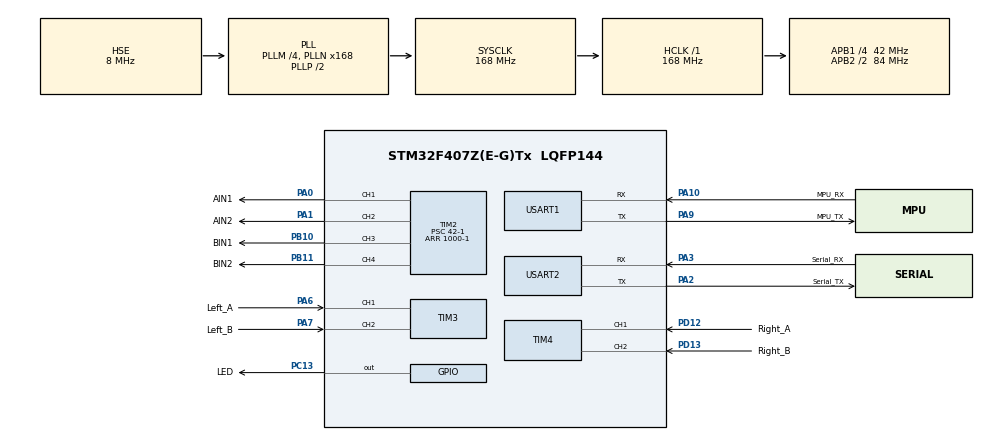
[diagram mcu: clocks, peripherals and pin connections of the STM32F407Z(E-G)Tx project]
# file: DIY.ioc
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FREERTOS.Tasks01=MPU_TASK,24,128,Read_MPU,Default,NULL,Dynamic,NULL,NULL
Mcu.Family=STM32F4
Mcu.Name=STM32F407Z(E-G)Tx
Mcu.Package=LQFP144
NVIC.PriorityGroup=NVIC_PRIORITYGROUP_4
NVIC.TIM1_UP_TIM10_IRQn=true\:15\:0\:false\:false\:true\:false\:false\:true\:true
NVIC.TIM3_IRQn=true\:5\:0\:false\:false\:true\:true\:true\:true\:true
NVIC.TIM4_IRQn=true\:5\:0\:false\:false\:true\:true\:true\:true\:true
NVIC.TIM5_IRQn=true\:5\:0\:false\:false\:true\:true\:true\:true\:true
NVIC.TimeBase=TIM1_UP_TIM10_IRQn
NVIC.TimeBaseIP=TIM1
NVIC.USART1_IRQn=true\:5\:0\:false\:false\:true\:true\:true\:true\:true
PA0-WKUP.GPIO_Label=AIN1
PA0-WKUP.GPIO_Speed=GPIO_SPEED_FREQ_VERY_HIGH
PA0-WKUP.Signal=S_TIM2_CH1_ETR
PA1.GPIO_Label=AIN2
PA1.GPIO_Speed=GPIO_SPEED_FREQ_VERY_HIGH
PA1.Signal=S_TIM2_CH2
PA10.GPIO_Label=MPU_RX
PA10.Mode=Asynchronous
PA10.Signal=USART1_RX
PA13.Mode=Serial_Wire
PA13.Signal=SYS_JTMS-SWDIO
PA14.Mode=Serial_Wire
PA14.Signal=SYS_JTCK-SWCLK
PA2.GPIO_Label=Serial_TX
PA2.Mode=Asynchronous
PA2.Signal=USART2_TX
PA3.GPIO_Label=Serial_RX
PA3.Mode=Asynchronous
PA3.Signal=USART2_RX
PA6.GPIO_Label=Left_A
PA6.GPIO_Speed=GPIO_SPEED_FREQ_VERY_HIGH
PA6.Signal=S_TIM3_CH1
PA7.GPIO_Label=Left_B
PA7.GPIO_Speed=GPIO_SPEED_FREQ_VERY_HIGH
PA7.Signal=S_TIM3_CH2
PA9.GPIO_Label=MPU_TX
PA9.Mode=Asynchronous
PA9.Signal=USART1_TX
PB10.GPIO_Label=BIN1
PB10.GPIO_Speed=GPIO_SPEED_FREQ_VERY_HIGH
PB10.Signal=S_TIM2_CH3
PB11.GPIO_Label=BIN2
PB11.GPIO_Speed=GPIO_SPEED_FREQ_VERY_HIGH
PB11.Signal=S_TIM2_CH4
PC13-ANTI_TAMP.GPIO_Label=LED
PC13-ANTI_TAMP.Signal=GPIO_Output
PD12.GPIO_Label=Right_A
PD12.GPIO_Speed=GPIO_SPEED_FREQ_VERY_HIGH
PD12.Signal=S_TIM4_CH1
PD13.GPIO_Label=Right_B
PD13.GPIO_Speed=GPIO_SPEED_FREQ_VERY_HIGH
PD13.Signal=S_TIM4_CH2
PH0-OSC_IN.Mode=HSE-External-Oscillator
PH0-OSC_IN.Signal=RCC_OSC_IN
PH1-OSC_OUT.Mode=HSE-External-Oscillator
PH1-OSC_OUT.Signal=RCC_OSC_OUT
ProjectManager.HeapSize=0x200
ProjectManager.StackSize=0x800
ProjectManager.TargetToolchain=MDK-ARM V5.32
RCC.48MHZClocksFreq_Value=84000000
RCC.AHBFreq_Value=168000000
RCC.APB1CLKDivider=RCC_HCLK_DIV4
RCC.APB1Freq_Value=42000000
RCC.APB1TimFreq_Value=84000000
RCC.APB2CLKDivider=RCC_HCLK_DIV2
RCC.APB2Freq_Value=84000000
RCC.APB2TimFreq_Value=168000000
RCC.CortexFreq_Value=168000000
RCC.HCLKFreq_Value=168000000
RCC.HSE_VALUE=8000000
RCC.HSI_VALUE=16000000
RCC.LSE_VALUE=32768
RCC.PLLM=4
RCC.PLLN=168
RCC.PLLSourceVirtual=RCC_PLLSOURCE_HSE
RCC.SYSCLKFreq_VALUE=168000000
RCC.SYSCLKSource=RCC_SYSCLKSOURCE_PLLCLK
RCC.VCOOutputFreq_Value=336000000
SH.S_TIM2_CH1_ETR.0=TIM2_CH1,PWM Generation1 CH1
SH.S_TIM2_CH2.0=TIM2_CH2,PWM Generation2 CH2
SH.S_TIM2_CH3.0=TIM2_CH3,PWM Generation3 CH3
SH.S_TIM2_CH4.0=TIM2_CH4,PWM Generation4 CH4
SH.S_TIM3_CH1.0=TIM3_CH1,Encoder_Interface
SH.S_TIM3_CH2.0=TIM3_CH2,Encoder_Interface
SH.S_TIM4_CH1.0=TIM4_CH1,Encoder_Interface
SH.S_TIM4_CH2.0=TIM4_CH2,Encoder_Interface
TIM2.Channel-PWM\ Generation1\ CH1=TIM_CHANNEL_1
TIM2.Channel-PWM\ Generation2\ CH2=TIM_CHANNEL_2
TIM2.Channel-PWM\ Generation3\ CH3=TIM_CHANNEL_3
TIM2.Channel-PWM\ Generation4\ CH4=TIM_CHANNEL_4
TIM2.Period=1000-1
TIM2.Prescaler=42-1
TIM2.Pulse-PWM\ Generation1\ CH1=0
TIM2.Pulse-PWM\ Generation2\ CH2=0
TIM3.EncoderMode=TIM_ENCODERMODE_TI12
TIM3.IC1Filter=15
TIM3.IC2Filter=15
TIM4.EncoderMode=TIM_ENCODERMODE_TI12
TIM4.IC1Filter=4
TIM4.IC2Filter=4
TIM5.AutoReloadPreload=TIM_AUTORELOAD_PRELOAD_ENABLE
TIM5.Period=10000-1
TIM5.Prescaler=84-1
USART1.VirtualMode=VM_ASYNC
USART2.VirtualMode=VM_ASYNC
VP_FREERTOS_VS_CMSIS_V2.Mode=CMSIS_V2
VP_SYS_VS_tim1.Mode=TIM1
VP_TIM2_VS_ClockSourceINT.Mode=Internal
VP_TIM5_VS_ClockSourceINT.Mode=Internal
board=custom

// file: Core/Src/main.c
/* USER CODE BEGIN Header */
/**
  ******************************************************************************
  * @file           : main.c
  * @brief          : Main program body
  ******************************************************************************
  * @attention
  *
  * Copyright (c) 2024 STMicroelectronics.
  * All rights reserved.
  *
  * This software is licensed under terms that can be found in the LICENSE file
  * in the root directory of this software component.
  * If no LICENSE file comes with this software, it is provided AS-IS.
  *
  ******************************************************************************
  */
/* USER CODE END Header */
#include "main.h"
#include "cmsis_os.h"
#include "tim.h"
#include "usart.h"
#include "gpio.h"

/* USER CODE BEGIN Includes */
#include "Delay.h"
#include "atk_ms901m.h"
#include "atk_ms901m_uart.h"
#include "pid.h"
/* USER CODE END Includes */

/* USER CODE BEGIN PV */
extern UART_HandleTypeDef huart1;//句柄
extern uint8_t recieve_data;//串口中断接收到的一个字节数据
extern Pid local_pid;//位置
extern Pid left_incremental_pid;//增量
extern Pid right_incremental_pid;
extern Motor_Stat Left_Motor;	/*左轮数据*/
extern Motor_Stat Right_Motor;	/*右轮数据*/
short time_cnt = 0;
//测试
float temp1_pwm;
float temp2_pwm;
/* USER CODE END PV */

void SystemClock_Config(void);
void MX_FREERTOS_Init(void);

int main(void)
{

  /* MCU Configuration--------------------------------------------------------*/

  /* Reset of all peripherals, Initializes the Flash interface and the Systick. */
  HAL_Init();

  /* Configure the system clock */
  SystemClock_Config();

  /* Initialize all configured peripherals */
  MX_GPIO_Init();
  MX_USART1_UART_Init();
  MX_TIM2_Init();
  MX_TIM3_Init();
  MX_TIM4_Init();
  MX_USART2_UART_Init();
  MX_TIM5_Init();
  /* USER CODE BEGIN 2 */

  /*mpu接收中断*/
	HAL_UART_Receive_IT(&huart1,&recieve_data,1);//把串口3接受到的数据放入 recieve_data

	/*编码器*/
	HAL_TIM_Encoder_Start_IT(&htim3,TIM_CHANNEL_ALL);
	HAL_TIM_Encoder_Start_IT(&htim4,TIM_CHANNEL_ALL);

	/*定时回调*/
  HAL_TIM_Base_Start_IT(&htim5);

	/*左电机pwm*/
	HAL_TIM_PWM_Start(&htim2,TIM_CHANNEL_1);
	HAL_TIM_PWM_Start(&htim2,TIM_CHANNEL_2);
	/*右电机pwm*/
	HAL_TIM_PWM_Start(&htim2,TIM_CHANNEL_3);
	HAL_TIM_PWM_Start(&htim2,TIM_CHANNEL_4);

	PID_init();

	/* USER CODE END 2 */

  /* Init scheduler */
  osKernelInitialize();

  /* Call init function for freertos objects (in freertos.c) */
  MX_FREERTOS_Init();

  /* Start scheduler */
  osKernelStart();

  /* We should never get here as control is now taken by the scheduler */
  /* Infinite loop */
  while (1)
  {

  }
}

void SystemClock_Config(void)
{
  RCC_OscInitTypeDef RCC_OscInitStruct = {0};
  RCC_ClkInitTypeDef RCC_ClkInitStruct = {0};

  /** Configure the main internal regulator output voltage
  */
  __HAL_RCC_PWR_CLK_ENABLE();
  __HAL_PWR_VOLTAGESCALING_CONFIG(PWR_REGULATOR_VOLTAGE_SCALE1);

  /** Initializes the RCC Oscillators according to the specified parameters
  * in the RCC_OscInitTypeDef structure.
  */
  RCC_OscInitStruct.OscillatorType = RCC_OSCILLATORTYPE_HSE;
  RCC_OscInitStruct.HSEState = RCC_HSE_ON;
  RCC_OscInitStruct.PLL.PLLState = RCC_PLL_ON;
  RCC_OscInitStruct.PLL.PLLSource = RCC_PLLSOURCE_HSE;
  RCC_OscInitStruct.PLL.PLLM = 4;
  RCC_OscInitStruct.PLL.PLLN = 168;
  RCC_OscInitStruct.PLL.PLLP = RCC_PLLP_DIV2;
  RCC_OscInitStruct.PLL.PLLQ = 4;
  if (HAL_RCC_OscConfig(&RCC_OscInitStruct) != HAL_OK)
  {
    Error_Handler();
  }

  /** Initializes the CPU, AHB and APB buses clocks
  */
  RCC_ClkInitStruct.ClockType = RCC_CLOCKTYPE_HCLK|RCC_CLOCKTYPE_SYSCLK
                              |RCC_CLOCKTYPE_PCLK1|RCC_CLOCKTYPE_PCLK2;
  RCC_ClkInitStruct.SYSCLKSource = RCC_SYSCLKSOURCE_PLLCLK;
  RCC_ClkInitStruct.AHBCLKDivider = RCC_SYSCLK_DIV1;
  RCC_ClkInitStruct.APB1CLKDivider = RCC_HCLK_DIV4;
  RCC_ClkInitStruct.APB2CLKDivider = RCC_HCLK_DIV2;

  if (HAL_RCC_ClockConfig(&RCC_ClkInitStruct, FLASH_LATENCY_5) != HAL_OK)
  {
    Error_Handler();
  }
}

void HAL_TIM_PeriodElapsedCallback(TIM_HandleTypeDef *htim)
{
  if (htim->Instance == TIM1) {
    HAL_IncTick();
  }
  /* USER CODE BEGIN Callback 1 */

	if(htim == &htim5){

		time_cnt++;
		/*编码器*/
		int left_tmp_ec = __HAL_TIM_GET_COUNTER(&htim3);
		__HAL_TIM_SET_COUNTER(&htim3,0);
		if(left_tmp_ec > 60000)	left_tmp_ec = left_tmp_ec - EC_ARR;//正反

		float left_distance = 0;
		Left_Motor.EncodeCount = left_tmp_ec;
		left_distance = (float)(Left_Motor.EncodeCount/EC_1)*C_1;
		Left_Motor.Distance += left_distance;
		Left_Motor.Motorspeed = left_distance/ENCODER_TIME;
		printf("%.0f  					%.2f  			%.2f					%.2f  \n",Left_Motor.EncodeCount,left_distance,Left_Motor.Distance,Left_Motor.Motorspeed);

		int right_tmp_ec = __HAL_TIM_GET_COUNTER(&htim4);
		__HAL_TIM_SET_COUNTER(&htim4,0);

		if(right_tmp_ec > 60000)	right_tmp_ec = right_tmp_ec - EC_ARR;
		float right_distance = 0;
		Right_Motor.EncodeCount = right_tmp_ec;
		right_distance = (float)(Right_Motor.EncodeCount/EC_1)*C_1;
		Right_Motor.Distance += right_distance;
		Right_Motor.Motorspeed = right_distance/ENCODER_TIME;

		/*PID*/

	}
  /* USER CODE END Callback 1 */
}

void Error_Handler(void)
{
  __disable_irq();
  while (1)
  {
  }
}

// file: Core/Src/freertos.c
/* USER CODE BEGIN Header */
/**
  ******************************************************************************
  * File Name          : freertos.c
  * Description        : Code for freertos applications
  ******************************************************************************
  * @attention
  *
  * Copyright (c) 2024 STMicroelectronics.
  * All rights reserved.
  *
  * This software is licensed under terms that can be found in the LICENSE file
  * in the root directory of this software component.
  * If no LICENSE file comes with this software, it is provided AS-IS.
  *
  ******************************************************************************
  */
/* USER CODE END Header */

#include "FreeRTOS.h"
#include "task.h"
#include "main.h"
#include "cmsis_os.h"

/* USER CODE BEGIN Includes */
#include "Delay.h"
#include "atk_ms901m.h"
#include "atk_ms901m_uart.h"
#include "tim.h"
#include "usart.h"
#include "pid.h"
/* USER CODE END Includes */

/* USER CODE BEGIN Variables */

atk_ms901m_gyro_data_t gyro_dat;                   /* 陀螺仪数据 */
atk_ms901m_accelerometer_data_t accelerometer_dat; /* 加速度计数据 */
atk_ms901m_quaternion_data_t quaternion_dat;			 /* 四元数 */
atk_ms901m_attitude_data_t attitude_dat;					 /* 姿态角 */

Motor_Stat Left_Motor;	/*左轮数据*/
Motor_Stat Right_Motor;	/*右轮数据*/

extern Pid local_pid;//位置
extern Pid incremental_pid;//增量

/* USER CODE END Variables */
/* Definitions for MPU_TASK */
osThreadId_t MPU_TASKHandle;
const osThreadAttr_t MPU_TASK_attributes = {
  .name = "MPU_TASK",
  .stack_size = 128 * 4,
  .priority = (osPriority_t) osPriorityNormal,
};

void Read_MPU(void *argument);

void MX_FREERTOS_Init(void); /* (MISRA C 2004 rule 8.1) */

void MX_FREERTOS_Init(void) {

  /* Create the thread(s) */
  /* creation of MPU_TASK */
  MPU_TASKHandle = osThreadNew(Read_MPU, NULL, &MPU_TASK_attributes);

}

/* USER CODE BEGIN Header_Read_MPU */

/**
* @brief 读MPU数据
* @param argument: Not used
* @retval None
*/
/* USER CODE END Header_Read_MPU */
void Read_MPU(void *argument)
{
  /* USER CODE BEGIN Read_MPU */
	/*首次调度才会被执行*/

	/*首次调度才会被执行*/
	/* Infinite loop */

	for(;;)
  {
		uint8_t ret = atk_ms901m_init();
		if(ret != 0)osDelay(100);
		atk_ms901m_get_attitude(&attitude_dat,100);
		osDelay(100);
	}

  /* USER CODE END Read_MPU */
}
